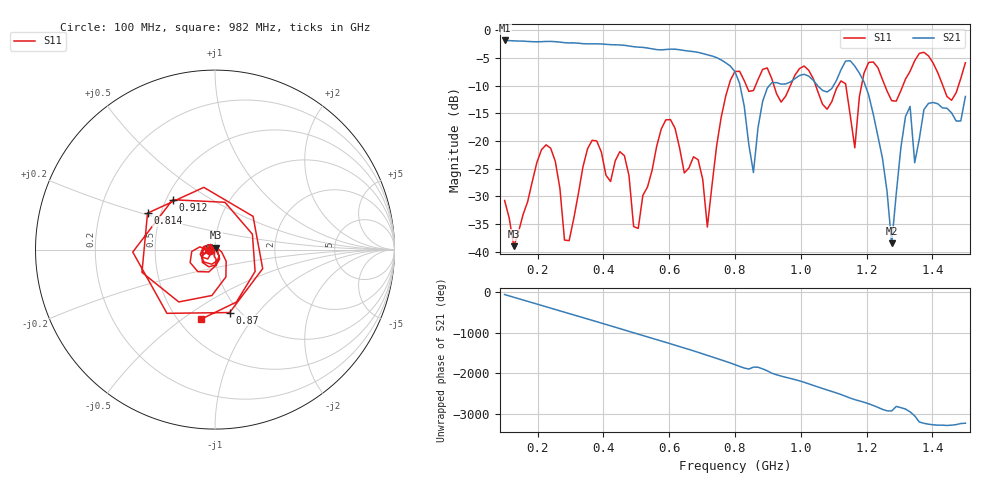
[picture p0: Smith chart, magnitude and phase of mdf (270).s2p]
! NanoVNA-App
! Date: 2025-09-25 15:40:31
! Start: 100MHz Stop: 1,5GHz Points: 101
! S-Parameter data: F S11 S21 S12 S22
# Hz S RI R 50
!  Frequency  S11_Real  S11_Imag  S21_Real  S21_Imag  S12_Real  S12_Imag  S22_Real  S22_Imag
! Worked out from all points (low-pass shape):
!   101 points, 100 MHz to 1.5 GHz, reference 50 ohm
!   highest |S21| = -1.80 dB at 100 MHz (marker M1); lowest = -38.5 dB at 1.276 GHz (marker M2)
!   |S21| within 3 dB of the highest: start of sweep to 739.3 MHz
!   lowest |S11| = -39.0 dB at 128 MHz (marker M3), VSWR 1.02, Z = 50.3 + j1.07 ohm
!   |S11| at or under -10 dB: start of sweep to 781.1 MHz; 918.6 MHz to 968.1 MHz (49.52 MHz wide, 5.25 % of centre); 1.045 GHz to 1.113 GHz (67.88 MHz wide, 6.29 % of centre) (the widest 3 of 7)
!   S12 and S22 are empty: the file has one direction only
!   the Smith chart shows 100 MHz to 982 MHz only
!   S11 on the Smith chart (normalised r, x): 100 MHz: 0.94, -0.01; 814 MHz: 0.42, +0.21; 870 MHz: 0.90, -0.73; 912 MHz: 0.54, +0.35; 982 MHz: 0.65, -0.59
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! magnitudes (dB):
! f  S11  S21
! 100 MHz  -30.8  -1.8
! 128 MHz  -39.0  -1.9
! 212 MHz  -21.6  -2.0
! 282 MHz  -37.9  -2.2
! 338 MHz  -24.7  -2.4
! 464 MHz  -22.7  -2.7
! 506 MHz  -35.8  -3.0
! 576 MHz  -17.8  -3.5
! 716 MHz  -35.6  -4.4
! 800 MHz  -7.4  -7.5
! 814 MHz  -7.4  -9.6
! 856 MHz  -10.9  -25.7
! 870 MHz  -8.9  -17.6
! 912 MHz  -8.8  -9.4
! 982 MHz  -8.1  -8.7
! 1.038 GHz  -8.7  -9.0
! 1.164 GHz  -21.2  -6.4
! 1.192 GHz  -7.7  -9.3
! 1.276 GHz  -12.7  -38.5
! 1.332 GHz  -7.4  -13.7
! 1.346 GHz  -5.5  -23.9
! 1.5 GHz  -5.8  -11.9
